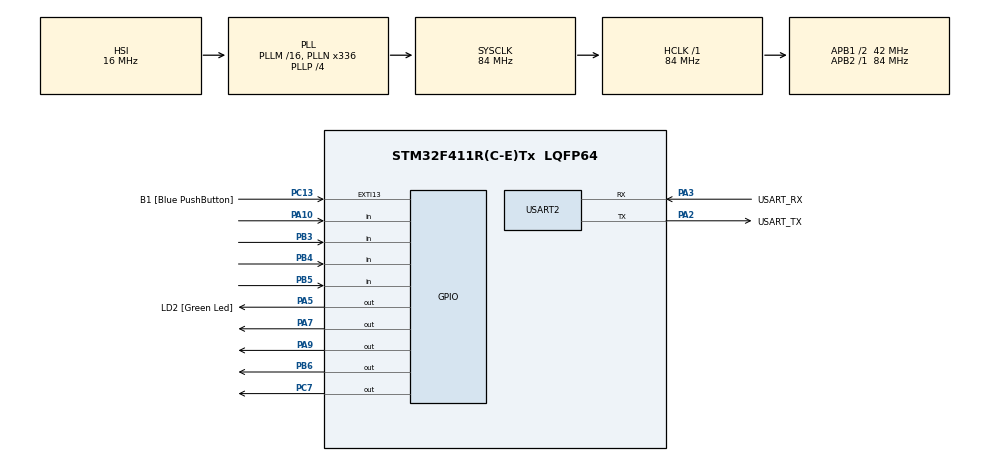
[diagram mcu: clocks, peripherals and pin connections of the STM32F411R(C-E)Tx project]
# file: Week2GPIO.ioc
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Mcu.Family=STM32F4
RCC.CortexFreq_Value=84000000
PA10.GPIO_PuPd=GPIO_PULLUP
PA14.GPIO_Label=TCK
PA7.GPIO_ModeDefaultOutputPP=GPIO_MODE_OUTPUT_OD
RCC.SYSCLKSource=RCC_SYSCLKSOURCE_PLLCLK
ProjectManager.StackSize=0x400
PH0\ -\ OSC_IN.Signal=RCC_OSC_IN
PA7.PinState=GPIO_PIN_SET
RCC.HCLKFreq_Value=84000000
RCC.APB2TimFreq_Value=84000000
PB6.Signal=GPIO_Output
PC7.Signal=GPIO_Output
RCC.AHBFreq_Value=84000000
RCC.HSE_VALUE=8000000
PC13-ANTI_TAMP.Signal=GPXTI13
PB3.GPIO_PuPd=GPIO_PULLUP
PC14-OSC32_IN.Mode=LSE-External-Oscillator
PA14.Mode=Serial_Wire
PC7.PinState=GPIO_PIN_SET
RCC.FLatency-AdvancedSettings=FLASH_LATENCY_2
Mcu.Package=LQFP64
USART2.VirtualMode=VM_ASYNC
PA2.GPIO_Label=USART_TX
PB6.GPIO_ModeDefaultOutputPP=GPIO_MODE_OUTPUT_OD
PA10.Signal=GPIO_Input
RCC.APB1TimFreq_Value=84000000
PB4.Signal=GPIO_Input
PA3.Signal=USART2_RX
PC15-OSC32_OUT.Mode=LSE-External-Oscillator
PC7.GPIO_ModeDefaultOutputPP=GPIO_MODE_OUTPUT_OD
PC13-ANTI_TAMP.GPIO_Label=B1 [Blue PushButton]
PH1\ -\ OSC_OUT.Mode=HSE-External-Clock-Source
RCC.APB1CLKDivider=RCC_HCLK_DIV2
PC14-OSC32_IN.Signal=RCC_OSC32_IN
PA3.Mode=Asynchronous
PA13.Signal=SYS_JTMS-SWDIO
PH0\ -\ OSC_IN.Mode=HSE-External-Clock-Source
ProjectManager.TargetToolchain=STM32CubeIDE
PA9.Signal=GPIO_Output
PA9.PinState=GPIO_PIN_SET
PB4.GPIO_PuPd=GPIO_PULLUP
PC15-OSC32_OUT.Signal=RCC_OSC32_OUT
PA5.Signal=GPIO_Output
PH1\ -\ OSC_OUT.Signal=RCC_OSC_OUT
board=NUCLEO-F411RE
RCC.VCOOutputFreq_Value=336000000
RCC.APB2Freq_Value=84000000
PA13.Mode=Serial_Wire
Mcu.Name=STM32F411R(C-E)Tx
PA13.GPIO_Label=TMS
PA2.Signal=USART2_TX
RCC.48MHZClocksFreq_Value=84000000
PA9.GPIO_ModeDefaultOutputPP=GPIO_MODE_OUTPUT_OD
PB3.Signal=GPIO_Input
RCC.SYSCLKFreq_VALUE=84000000
PB5.Signal=GPIO_Input
PA5.GPIO_Label=LD2 [Green Led]
PB5.GPIO_PuPd=GPIO_PULLUP
PB6.PinState=GPIO_PIN_SET
PC13-ANTI_TAMP.GPIO_ModeDefaultEXTI=GPIO_MODE_IT_FALLING
PA14.Signal=SYS_JTCK-SWCLK
ProjectManager.HeapSize=0x200
RCC.HSI_VALUE=16000000
RCC.PLLP=RCC_PLLP_DIV4
NVIC.PriorityGroup=NVIC_PRIORITYGROUP_0
RCC.PLLN=336
PA2.Mode=Asynchronous
RCC.APB1Freq_Value=42000000
PA3.GPIO_Label=USART_RX
PA7.Signal=GPIO_Output

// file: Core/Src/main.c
/* USER CODE BEGIN Header */
/**
  ******************************************************************************
  * @file           : main.c
  * @brief          : Main program body
  ******************************************************************************
  * @attention
  *
  * <h2><center>&copy; Copyright (c) 2021 STMicroelectronics.
  * All rights reserved.</center></h2>
  *
  * This software component is licensed by ST under BSD 3-Clause license,
  * the "License"; You may not use this file except in compliance with the
  * License. You may obtain a copy of the License at:
  *                        opensource.org/licenses/BSD-3-Clause
  *
  ******************************************************************************
  */
/* USER CODE END Header */
#include "main.h"

UART_HandleTypeDef huart2;

/* USER CODE BEGIN PV */
//save status of button matrix
uint16_t ButtonMatrixState = 0;

//Button time stamp
uint32_t ButtonMatrixTimestamp = 0;

//Data
int Data[11] = {0,0,0,0,0,0,0,0,0,0,0};
int DataCurser = 0;

/* USER CODE END PV */

void SystemClock_Config(void);
static void MX_GPIO_Init(void);
static void MX_USART2_UART_Init(void);
/* USER CODE BEGIN PFP */
//Scan for update matrix
void ButtonMatrixUpdate();
/* USER CODE END PFP */

int main(void)
{

  /* MCU Configuration--------------------------------------------------------*/

  /* Reset of all peripherals, Initializes the Flash interface and the Systick. */
  HAL_Init();

  /* Configure the system clock */
  SystemClock_Config();

  /* Initialize all configured peripherals */
  MX_GPIO_Init();
  MX_USART2_UART_Init();
  /* USER CODE BEGIN 2 */
  uint16_t StateCheck[2];
  /* USER CODE END 2 */

  /* Infinite loop */
  /* USER CODE BEGIN WHILE */
  while (1)
  {
	  ButtonMatrixUpdate();
	  StateCheck[0] = ButtonMatrixState;
    /* USER CODE END WHILE */

    /* USER CODE BEGIN 3 */
	  if(StateCheck[0] != 0 && StateCheck[1] == 0)
	  {
		  switch(ButtonMatrixState)
		  {
			  case 1:
				  if(DataCurser < 11)
				  {
					  Data[DataCurser] = 7;
				  }
				  DataCurser +=1;
				  break;
			  case 2:
				  if(DataCurser < 11)
				  {
					  Data[DataCurser] = 8;
				  }
				  DataCurser +=1;
				  break;
			  case 4:
				  if(DataCurser < 11)
				  {
					  Data[DataCurser] = 9;
				  }
				  DataCurser +=1;
				  break;
			  case 8:
				  DataCurser = 0;
				  HAL_GPIO_WritePin(GPIOA, GPIO_PIN_5, GPIO_PIN_RESET);
				  int reset = 0;
				  for(reset = 0; reset < 11 ; reset++)
				  {
					  Data[reset] = 0;
				  }
				  break;
			  case 16:
				  if(DataCurser < 11)
				  {
					  Data[DataCurser] = 4;
				  }
				  DataCurser +=1;
				  break;
			  case 32:
				  if(DataCurser < 11)
				  {
					  Data[DataCurser] = 5;
				  }
				  DataCurser +=1;
				  break;
			  case 64:
				  if(DataCurser < 11)
				  {
					  Data[DataCurser] = 6;
				  }
				  DataCurser +=1;
				  break;
			  case 128:
				  if(DataCurser <= 11 && DataCurser > 0)
				  {
					  Data[DataCurser - 1] = 0;
				  }
				  if(DataCurser > 0)
				  {
					  DataCurser -= 1;
				  }
				  break;
			  case 256:
				  if(DataCurser < 11)
				  {
					  Data[DataCurser] = 1;
				  }
				  DataCurser +=1;
				  break;
			  case 512:
				  if(DataCurser < 11)
				  {
					  Data[DataCurser] = 2;
				  }
				  DataCurser +=1;
				  break;
			  case 1024:
				  if(DataCurser < 11)
				  {
					  Data[DataCurser] = 3;
				  }
				  DataCurser +=1;
				  break;
			  case 4096:
				  if(DataCurser < 11)
				  {
					  Data[DataCurser] = 0;
				  }
				  DataCurser +=1;
				  break;
			  case 32768:
				  if(Data[0] == 6 && Data[1] == 2 && Data[2] == 3
					&& Data[3] == 4 && Data[4] == 0 && Data[5] == 5
					&& Data[6] == 0 && Data[7] == 0 && Data[8] == 0
					&& Data[9] == 3 && Data[10] == 1 && DataCurser == 11)
				  {
				  	  HAL_GPIO_WritePin(GPIOA, GPIO_PIN_5, GPIO_PIN_SET);
				  }
				  break;
			  default:
				  break;
		  }
	    }
	    StateCheck[1] = StateCheck[0];
    }
  /* USER CODE END 3 */
}

void SystemClock_Config(void)
{
  RCC_OscInitTypeDef RCC_OscInitStruct = {0};
  RCC_ClkInitTypeDef RCC_ClkInitStruct = {0};

  /** Configure the main internal regulator output voltage
  */
  __HAL_RCC_PWR_CLK_ENABLE();
  __HAL_PWR_VOLTAGESCALING_CONFIG(PWR_REGULATOR_VOLTAGE_SCALE1);
  /** Initializes the RCC Oscillators according to the specified parameters
  * in the RCC_OscInitTypeDef structure.
  */
  RCC_OscInitStruct.OscillatorType = RCC_OSCILLATORTYPE_HSI;
  RCC_OscInitStruct.HSIState = RCC_HSI_ON;
  RCC_OscInitStruct.HSICalibrationValue = RCC_HSICALIBRATION_DEFAULT;
  RCC_OscInitStruct.PLL.PLLState = RCC_PLL_ON;
  RCC_OscInitStruct.PLL.PLLSource = RCC_PLLSOURCE_HSI;
  RCC_OscInitStruct.PLL.PLLM = 16;
  RCC_OscInitStruct.PLL.PLLN = 336;
  RCC_OscInitStruct.PLL.PLLP = RCC_PLLP_DIV4;
  RCC_OscInitStruct.PLL.PLLQ = 4;
  if (HAL_RCC_OscConfig(&RCC_OscInitStruct) != HAL_OK)
  {
    Error_Handler();
  }
  /** Initializes the CPU, AHB and APB buses clocks
  */
  RCC_ClkInitStruct.ClockType = RCC_CLOCKTYPE_HCLK|RCC_CLOCKTYPE_SYSCLK
                              |RCC_CLOCKTYPE_PCLK1|RCC_CLOCKTYPE_PCLK2;
  RCC_ClkInitStruct.SYSCLKSource = RCC_SYSCLKSOURCE_PLLCLK;
  RCC_ClkInitStruct.AHBCLKDivider = RCC_SYSCLK_DIV1;
  RCC_ClkInitStruct.APB1CLKDivider = RCC_HCLK_DIV2;
  RCC_ClkInitStruct.APB2CLKDivider = RCC_HCLK_DIV1;

  if (HAL_RCC_ClockConfig(&RCC_ClkInitStruct, FLASH_LATENCY_2) != HAL_OK)
  {
    Error_Handler();
  }
}

static void MX_USART2_UART_Init(void)
{

  huart2.Instance = USART2;
  huart2.Init.BaudRate = 115200;
  huart2.Init.WordLength = UART_WORDLENGTH_8B;
  huart2.Init.StopBits = UART_STOPBITS_1;
  huart2.Init.Parity = UART_PARITY_NONE;
  huart2.Init.Mode = UART_MODE_TX_RX;
  huart2.Init.HwFlowCtl = UART_HWCONTROL_NONE;
  huart2.Init.OverSampling = UART_OVERSAMPLING_16;
  if (HAL_UART_Init(&huart2) != HAL_OK)
  {
    Error_Handler();
  }

}

static void MX_GPIO_Init(void)
{
  GPIO_InitTypeDef GPIO_InitStruct = {0};

  /* GPIO Ports Clock Enable */
  __HAL_RCC_GPIOC_CLK_ENABLE();
  __HAL_RCC_GPIOH_CLK_ENABLE();
  __HAL_RCC_GPIOA_CLK_ENABLE();
  __HAL_RCC_GPIOB_CLK_ENABLE();

  /*Configure GPIO pin Output Level */
  HAL_GPIO_WritePin(LD2_GPIO_Port, LD2_Pin, GPIO_PIN_RESET);

  /*Configure GPIO pin Output Level */
  HAL_GPIO_WritePin(GPIOA, GPIO_PIN_7|GPIO_PIN_9, GPIO_PIN_SET);

  /*Configure GPIO pin Output Level */
  HAL_GPIO_WritePin(GPIOC, GPIO_PIN_7, GPIO_PIN_SET);

  /*Configure GPIO pin Output Level */
  HAL_GPIO_WritePin(GPIOB, GPIO_PIN_6, GPIO_PIN_SET);

  /*Configure GPIO pin : B1_Pin */
  GPIO_InitStruct.Pin = B1_Pin;
  GPIO_InitStruct.Mode = GPIO_MODE_IT_FALLING;
  GPIO_InitStruct.Pull = GPIO_NOPULL;
  HAL_GPIO_Init(B1_GPIO_Port, &GPIO_InitStruct);

  /*Configure GPIO pin : LD2_Pin */
  GPIO_InitStruct.Pin = LD2_Pin;
  GPIO_InitStruct.Mode = GPIO_MODE_OUTPUT_PP;
  GPIO_InitStruct.Pull = GPIO_NOPULL;
  GPIO_InitStruct.Speed = GPIO_SPEED_FREQ_LOW;
  HAL_GPIO_Init(LD2_GPIO_Port, &GPIO_InitStruct);

  /*Configure GPIO pins : PA7 PA9 */
  GPIO_InitStruct.Pin = GPIO_PIN_7|GPIO_PIN_9;
  GPIO_InitStruct.Mode = GPIO_MODE_OUTPUT_OD;
  GPIO_InitStruct.Pull = GPIO_NOPULL;
  GPIO_InitStruct.Speed = GPIO_SPEED_FREQ_LOW;
  HAL_GPIO_Init(GPIOA, &GPIO_InitStruct);

  /*Configure GPIO pin : PC7 */
  GPIO_InitStruct.Pin = GPIO_PIN_7;
  GPIO_InitStruct.Mode = GPIO_MODE_OUTPUT_OD;
  GPIO_InitStruct.Pull = GPIO_NOPULL;
  GPIO_InitStruct.Speed = GPIO_SPEED_FREQ_LOW;
  HAL_GPIO_Init(GPIOC, &GPIO_InitStruct);

  /*Configure GPIO pin : PA10 */
  GPIO_InitStruct.Pin = GPIO_PIN_10;
  GPIO_InitStruct.Mode = GPIO_MODE_INPUT;
  GPIO_InitStruct.Pull = GPIO_PULLUP;
  HAL_GPIO_Init(GPIOA, &GPIO_InitStruct);

  /*Configure GPIO pins : PB3 PB4 PB5 */
  GPIO_InitStruct.Pin = GPIO_PIN_3|GPIO_PIN_4|GPIO_PIN_5;
  GPIO_InitStruct.Mode = GPIO_MODE_INPUT;
  GPIO_InitStruct.Pull = GPIO_PULLUP;
  HAL_GPIO_Init(GPIOB, &GPIO_InitStruct);

  /*Configure GPIO pin : PB6 */
  GPIO_InitStruct.Pin = GPIO_PIN_6;
  GPIO_InitStruct.Mode = GPIO_MODE_OUTPUT_OD;
  GPIO_InitStruct.Pull = GPIO_NOPULL;
  GPIO_InitStruct.Speed = GPIO_SPEED_FREQ_LOW;
  HAL_GPIO_Init(GPIOB, &GPIO_InitStruct);

}

/* USER CODE BEGIN 4 */
//port/pin array , 0-3 Input , 4-7 Output
GPIO_TypeDef* ButtonMatrixPort[8] = {GPIOA,GPIOB,GPIOB,GPIOB,GPIOA,GPIOC,GPIOB,GPIOA};
uint16_t ButtonMatrixPin[8] = {GPIO_PIN_10,GPIO_PIN_3,GPIO_PIN_5,GPIO_PIN_4,GPIO_PIN_9,GPIO_PIN_7,GPIO_PIN_6,GPIO_PIN_7};
uint8_t ButtonMatrixRow = 0;

void ButtonMatrixUpdate()
{
	if(HAL_GetTick() - ButtonMatrixTimestamp >= 20)
	{
		ButtonMatrixTimestamp = HAL_GetTick();
		int i;
		for(i = 0 ; i<4 ; i++)
		{
			GPIO_PinState Pinstate = HAL_GPIO_ReadPin(ButtonMatrixPort[i], ButtonMatrixPin[i]);
			if(Pinstate == GPIO_PIN_RESET)//Button Press
			{
				ButtonMatrixState |= (uint16_t)1 << (i + (ButtonMatrixRow * 4));
			}
			else
			{
				ButtonMatrixState &= ~((uint16_t)1 << (i + (ButtonMatrixRow * 4)));
			}
		}

		//Set Rn
		uint8_t NowOutputPin = ButtonMatrixRow + 4;
		HAL_GPIO_WritePin(ButtonMatrixPort[NowOutputPin], ButtonMatrixPin[NowOutputPin], GPIO_PIN_SET);

		ButtonMatrixRow = (ButtonMatrixRow+1) % 4; //Update New Row

		//Reset Rn
		uint8_t NextOutputPin = ButtonMatrixRow + 4;
		HAL_GPIO_WritePin(ButtonMatrixPort[NextOutputPin], ButtonMatrixPin[NextOutputPin], GPIO_PIN_RESET);
	}
}
/* USER CODE END 4 */

void Error_Handler(void)
{
  __disable_irq();
  while (1)
  {
  }
}

/************************ (C) COPYRIGHT STMicroelectronics *****END OF FILE****/
